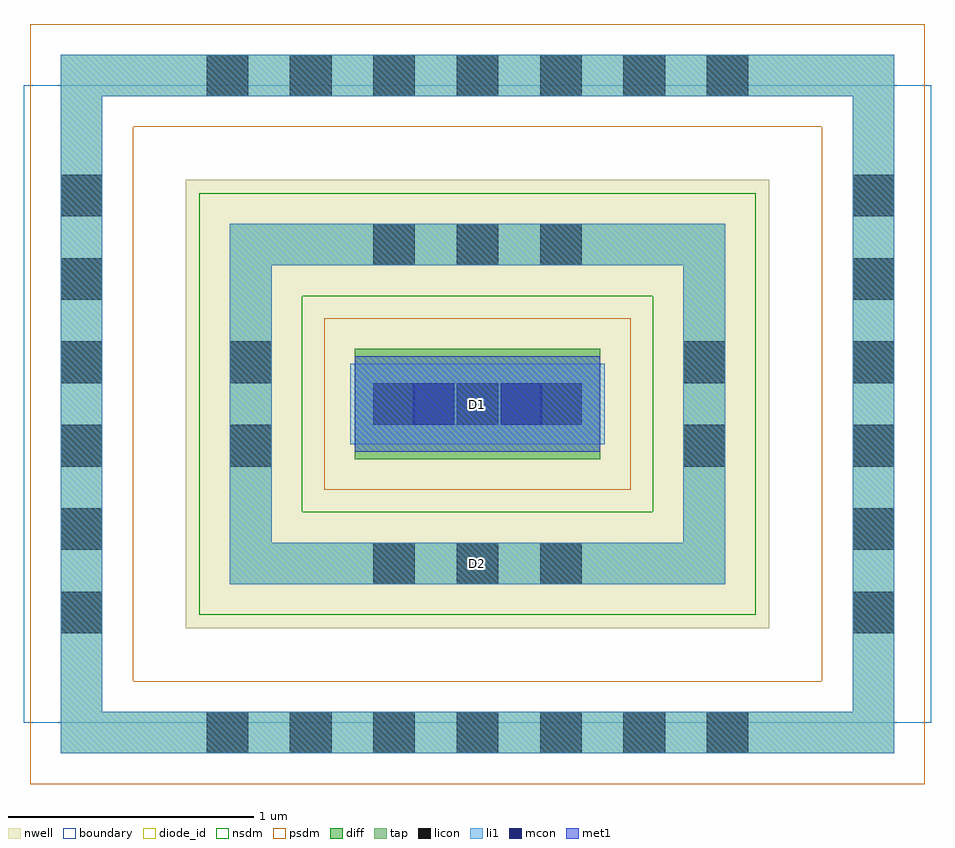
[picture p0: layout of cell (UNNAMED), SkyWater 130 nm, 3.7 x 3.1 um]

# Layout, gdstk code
import gdstk
lib = gdstk.Library(unit=1e-6, precision=1e-09)
def R(c, l, rs):  # rectangles x0, y0, x1, y1
    for r in rs: c.add(gdstk.rectangle(r[:2], r[2:], *l))
def A(c, l, x, y, w, h, nx, ny, dx, dy):  # array of equal rectangles
    R(c, l, [(x+i*dx, y+j*dy, x+i*dx+w, y+j*dy+h) for i in range(nx) for j in range(ny)])
nwell = (64, 20)
diff = (65, 20)
tap = (65, 44)
licon = (66, 44)
li1 = (67, 20)
mcon = (67, 44)
met1 = (68, 20)
diode_id = (81, 23)
nsdm = (93, 44)
psdm = (94, 20)
boundary = (235, 4)

c__unnamed_ = lib.new_cell('(UNNAMED)')
R(c__unnamed_, nwell, [(-1.19,-0.915,1.19,0.915)])
R(c__unnamed_, diff, [(-0.5,-0.225,0.5,0.225)])
R(c__unnamed_, tap, [(-1.7,-1.425,1.7,-1.255), (-1.7,-1.255,-1.53,1.255), (1.53,-1.255,1.7,1.255), (-1.01,-0.735,1.01,-0.565), (-1.01,-0.565,-0.84,0.565), (0.84,-0.565,1.01,0.565), (-1.01,0.565,1.01,0.735), (-1.7,1.255,1.7,1.425)])
A(c__unnamed_, licon, -1.105, -1.425, 0.17, 0.17, 7, 2, 0.34, 2.68)
A(c__unnamed_, licon, -1.7, -0.935, 0.17, 0.17, 1, 6, 0, 0.34)
A(c__unnamed_, licon, 1.53, -0.935, 0.17, 0.17, 1, 6, 0, 0.34)
A(c__unnamed_, licon, -0.425, -0.735, 0.17, 0.17, 3, 3, 0.34, 0.65)
R(c__unnamed_, licon, [(-1.01,-0.255,-0.84,-0.085), (0.84,-0.255,1.01,-0.085), (-1.01,0.085,-0.84,0.255), (0.84,0.085,1.01,0.255)])
R(c__unnamed_, li1, [(-1.7,-1.425,1.7,-1.255), (-1.7,-1.255,-1.53,1.255), (1.53,-1.255,1.7,1.255), (-1.01,-0.735,1.01,-0.565), (-1.01,-0.565,-0.84,0.565), (0.84,-0.565,1.01,0.565), (-0.52,-0.165,0.52,0.165), (-1.01,0.565,1.01,0.735), (-1.7,1.255,1.7,1.425)])
R(c__unnamed_, mcon, [(-0.265,-0.085,-0.095,0.085), (0.095,-0.085,0.265,0.085)])
R(c__unnamed_, met1, [(-0.5,-0.195,0.5,0.195)])
R(c__unnamed_, diode_id, [(-0.5,-0.225,0.5,0.225)])
R(c__unnamed_, nsdm, [(-1.135,-0.86,1.135,-0.44), (-1.135,-0.44,-0.715,0.44), (0.715,-0.44,1.135,0.44), (-1.135,0.44,1.135,0.86)])
R(c__unnamed_, psdm, [(-1.825,-1.55,1.825,-1.13), (-1.825,-1.13,-1.405,1.13), (1.405,-1.13,1.825,1.13), (-0.625,-0.35,0.625,0.35), (-1.825,1.13,1.825,1.55)])
R(c__unnamed_, boundary, [(-1.85,-1.3,1.85,1.3)])
c__unnamed_.add(gdstk.Label('D2', (0,-0.65), layer=67, texttype=5))
c__unnamed_.add(gdstk.Label('D1', (0,0), layer=67, texttype=5))

lib.write_gds('_UNNAMED_.gds')
